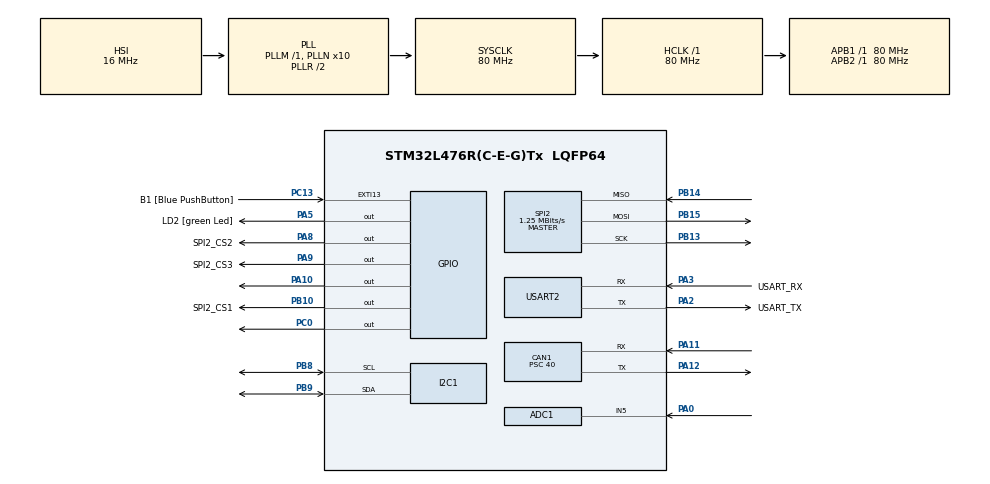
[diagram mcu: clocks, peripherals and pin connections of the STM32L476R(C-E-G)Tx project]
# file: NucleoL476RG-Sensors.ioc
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Mcu.Family=STM32L4
PA2.GPIO_PuPd=GPIO_NOPULL
PB10.PinState=GPIO_PIN_SET
VP_SYS_VS_tim6.Mode=TIM6
RCC.CortexFreq_Value=80000000
PB10.GPIO_Speed=GPIO_SPEED_FREQ_MEDIUM
PB10.GPIO_PuPd=GPIO_NOPULL
SPI2.VirtualType=VM_MASTER
NVIC.TIM6_DAC_IRQn=true\:0\:0\:false\:false\:true\:false\:false\:true
PH0-OSC_IN\ (PH0).Signal=RCC_OSC_IN
PA3.GPIO_PuPd=GPIO_NOPULL
PA2.GPIO_Speed=GPIO_SPEED_FREQ_VERY_HIGH
PA11.Mode=CAN_Activate
PC15-OSC32_OUT\ (PC15).Mode=LSE-External-Oscillator
PC13.GPIO_Label=B1 [Blue PushButton]
PA3.GPIO_Speed=GPIO_SPEED_FREQ_VERY_HIGH
PB13.Signal=SPI2_SCK
PB15.Signal=SPI2_MOSI
RCC.SYSCLKSource=RCC_SYSCLKSOURCE_PLLCLK
ProjectManager.StackSize=0x400
PB3\ (JTDO-TRACESWO).Signal=SYS_JTDO-SWO
PC14-OSC32_IN\ (PC14).Mode=LSE-External-Oscillator
VP_FREERTOS_VS_CMSIS_V2.Mode=CMSIS_V2
PA14\ (JTCK-SWCLK).Signal=SYS_JTCK-SWCLK
PA12.Signal=CAN1_TX
SPI2.CLKPolarity=SPI_POLARITY_LOW
RCC.HCLKFreq_Value=80000000
RCC.APB2TimFreq_Value=80000000
FREERTOS.configMINIMAL_STACK_SIZE=128
RCC.AHBFreq_Value=80000000
RCC.PREFETCH_ENABLE=1
SPI2.BaudRatePrescaler=SPI_BAUDRATEPRESCALER_64
ADC1.Channel-0\#ChannelRegularConversion=ADC_CHANNEL_5
RCC.HSE_VALUE=8000000
USART2.VirtualMode-Asynchronous=VM_ASYNC
PB14.Mode=Full_Duplex_Master
PA5.GPIO_PuPd=GPIO_NOPULL
PC13.GPIO_PuPd=GPIO_NOPULL
SPI2.CalculateBaudRate=1.25 MBits/s
PA8.Signal=GPIO_Output
ADC1.SamplingTime-0\#ChannelRegularConversion=ADC_SAMPLETIME_2CYCLES_5
FREERTOS.configTOTAL_HEAP_SIZE=3500
PA0.Signal=ADCx_IN5
CAN1.Prescaler=40
Mcu.Package=LQFP64
PB9.Signal=I2C1_SDA
NVIC.TimeBase=TIM6_DAC_IRQn
SPI2.Mode=SPI_MODE_MASTER
PA2.GPIO_Label=USART_TX
NVIC.TimeBaseIP=TIM6
PA10.Signal=GPIO_Output
SPI2.CLKPhase=SPI_PHASE_2EDGE
RCC.APB1TimFreq_Value=80000000
SPI2.Direction=SPI_DIRECTION_2LINES
PB13.Mode=Full_Duplex_Master
PA13\ (JTMS-SWDIO).Signal=SYS_JTMS-SWDIO
CAN1.CalculateTimeBit=8000.00
PA8.GPIO_Speed=GPIO_SPEED_FREQ_MEDIUM
PA8.PinState=GPIO_PIN_SET
PA3.Signal=USART2_RX
CAN1.CalculateTimeQuantum=500.0
PA2.GPIO_Mode=GPIO_MODE_AF_PP
RCC.MSI_VALUE=4000000
RCC.PLLSourceVirtual=RCC_PLLSOURCE_HSI
PA14\ (JTCK-SWCLK).Mode=Serial_Wire
FREERTOS.Tasks01=defaultTask,24,128,StartDefaultTask,Default,NULL,Dynamic,NULL,NULL;blinkyTask01,16,128,StartBlinkyTask01,Default,NULL,Dynamic,NULL,NULL;readTemperature,48,256,StartTaskReadTemperature,Default,NULL,Dynamic,NULL,NULL
ADC1.Rank-0\#ChannelRegularConversion=1
ADC1.OffsetNumber-0\#ChannelRegularConversion=ADC_OFFSET_NONE
PC13.Signal=GPXTI13
PA9.GPIO_Label=SPI2_CS3
CAN1.CalculateBaudRate=125000
PC15-OSC32_OUT\ (PC15).Signal=RCC_OSC32_OUT
PA14\ (JTCK-SWCLK).GPIO_Label=TCK
PB3\ (JTDO-TRACESWO).GPIO_Label=SWO
PC0.Signal=GPIO_Output
PH1-OSC_OUT\ (PH1).Signal=RCC_OSC_OUT
PA3.Mode=Asynchronous
PA8.GPIO_Label=SPI2_CS2
CAN1.BS2=CAN_BS2_2TQ
CAN1.BS1=CAN_BS1_13TQ
ProjectManager.TargetToolchain=STM32CubeIDE
PB10.GPIO_Label=SPI2_CS1
PA3.GPIO_Mode=GPIO_MODE_AF_PP
PB9.Mode=I2C
PA9.Signal=GPIO_Output
I2C1.Timing=0x10909CEC
PA9.PinState=GPIO_PIN_SET
RCC.USBFreq_Value=64000000
PB10.Signal=GPIO_Output
PB14.Signal=SPI2_MISO
PA5.Signal=GPIO_Output
board=NUCLEO-L476RG
RCC.VCOOutputFreq_Value=160000000
PB15.Mode=Full_Duplex_Master
RCC.APB2Freq_Value=80000000
PA5.GPIO_ModeDefaultOutputPP=GPIO_MODE_OUTPUT_PP
PA13\ (JTMS-SWDIO).GPIO_Label=TMS
RCC.ADCFreq_Value=64000000
Mcu.Name=STM32L476R(C-E-G)Tx
PA2.Signal=USART2_TX
PA13\ (JTMS-SWDIO).Mode=Serial_Wire
RCC.SYSCLKFreq_VALUE=80000000
ADC1.master=1
PA12.Mode=CAN_Activate
PA5.GPIO_Label=LD2 [green Led]
PC13.GPIO_ModeDefaultEXTI=GPIO_MODE_IT_FALLING
PC14-OSC32_IN\ (PC14).Signal=RCC_OSC32_IN
PA11.Signal=CAN1_RX
ProjectManager.HeapSize=0x200
RCC.HSI_VALUE=16000000
SH.ADCx_IN5.0=ADC1_IN5,IN5-Single-Ended
PA5.GPIO_Speed=GPIO_SPEED_FREQ_LOW
NVIC.PriorityGroup=NVIC_PRIORITYGROUP_4
ADC1.NbrOfConversionFlag=1
PB8.Mode=I2C
RCC.PLLN=10
PA2.Mode=Asynchronous
PA9.GPIO_Speed=GPIO_SPEED_FREQ_MEDIUM
PB8.Signal=I2C1_SCL
SPI2.DataSize=SPI_DATASIZE_8BIT
RCC.APB1Freq_Value=80000000
NVIC.CAN1_RX0_IRQn=true\:5\:0\:false\:false\:true\:true\:true\:true
PA3.GPIO_Label=USART_RX

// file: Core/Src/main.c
/* USER CODE BEGIN Header */
/**
  ******************************************************************************
  * @file           : main.c
  * @brief          : Main program body
  ******************************************************************************
  * @attention
  *
  * <h2><center>&copy; Copyright (c) 2020 STMicroelectronics.
  * All rights reserved.</center></h2>
  *
  * This software component is licensed by ST under BSD 3-Clause license,
  * the "License"; You may not use this file except in compliance with the
  * License. You may obtain a copy of the License at:
  *                        opensource.org/licenses/BSD-3-Clause
  *
  ******************************************************************************
  */
/* USER CODE END Header */
#include "main.h"
#include "cmsis_os.h"

/* USER CODE BEGIN Includes */
#include <string.h>
#include <stdio.h>
#include "MAX31865.h"
/* USER CODE END Includes */

/* USER CODE BEGIN PD */

/*CONFIGURE FUNCTIONS HERE!
 * */

#define ADC_READ 0
#define USING_UART 0
#define DEBUG_MODE 0
/* USER CODE END PD */

/* USER CODE BEGIN PM */
uint16_t raw;
char message[8];

uint16_t TEMP_1 = 0x101; //Sensor Description Here
uint16_t TEMP_2 = 0x102; //Sensor Description Here
uint16_t TEMP_3 = 0x103; //Sensor Description Here

CAN_HandleTypeDef hcan1;
CAN_TxHeaderTypeDef TxHeader;
CAN_RxHeaderTypeDef RxHeader;

uint16_t OwnID = 0x125, RemoteID = 0x124; //Swap OwnID when programming. Receiver: 0x124 Sender:0x123 RemoteID has no impact in current implementation.
/* USER CODE END PM */

ADC_HandleTypeDef hadc1;

CAN_HandleTypeDef hcan1;

I2C_HandleTypeDef hi2c1;

SPI_HandleTypeDef hspi2;

UART_HandleTypeDef huart2;

/* Definitions for defaultTask */
osThreadId_t defaultTaskHandle;
const osThreadAttr_t defaultTask_attributes = {
  .name = "defaultTask",
  .priority = (osPriority_t) osPriorityNormal,
  .stack_size = 128 * 4
};
/* Definitions for blinkyTask01 */
osThreadId_t blinkyTask01Handle;
const osThreadAttr_t blinkyTask01_attributes = {
  .name = "blinkyTask01",
  .priority = (osPriority_t) osPriorityBelowNormal,
  .stack_size = 128 * 4
};
/* Definitions for readTemperature */
osThreadId_t readTemperatureHandle;
const osThreadAttr_t readTemperature_attributes = {
  .name = "readTemperature",
  .priority = (osPriority_t) osPriorityRealtime,
  .stack_size = 256 * 4
};

void SystemClock_Config(void);
static void MX_GPIO_Init(void);
static void MX_USART2_UART_Init(void);
static void MX_ADC1_Init(void);
static void MX_CAN1_Init(void);
static void MX_I2C1_Init(void);
static void MX_SPI2_Init(void);
void StartDefaultTask(void *argument);
void StartBlinkyTask01(void *argument);
void StartTaskReadTemperature(void *argument);

/* USER CODE BEGIN PFP */
void serialMsg(char msg[]);
void serialClear(void);
void HAL_CAN_RxFifo0FullCallBack(CAN_HandleTypeDef *hcan);
void CAN_filterConfig(void);
void CAN_Tx(char msg[], CAN_TxHeaderTypeDef* TxHeader);
void CAN_Rx(void);
void SendSensorData(uint16_t sensorId, float data);

//void delay(uint16_t delay);
/* USER CODE END PFP */

int main(void)
{

  /* MCU Configuration--------------------------------------------------------*/

  /* Reset of all peripherals, Initializes the Flash interface and the Systick. */
  HAL_Init();

  /* Configure the system clock */
  SystemClock_Config();

  /* Initialize all configured peripherals */
  MX_GPIO_Init();
  MX_USART2_UART_Init();
  MX_ADC1_Init();
  MX_CAN1_Init();
  MX_I2C1_Init();
  MX_SPI2_Init();

  /* Init scheduler */
  osKernelInitialize();

  /* Create the thread(s) */
  /* creation of defaultTask */
  defaultTaskHandle = osThreadNew(StartDefaultTask, NULL, &defaultTask_attributes);

  /* creation of blinkyTask01 */
  blinkyTask01Handle = osThreadNew(StartBlinkyTask01, NULL, &blinkyTask01_attributes);

  /* creation of readTemperature */
  readTemperatureHandle = osThreadNew(StartTaskReadTemperature, NULL, &readTemperature_attributes);

  /* Start scheduler */
  osKernelStart();

  /* We should never get here as control is now taken by the scheduler */
  /* Infinite loop */
  while (1)
  {

  }
}

void SystemClock_Config(void)
{
  RCC_OscInitTypeDef RCC_OscInitStruct = {0};
  RCC_ClkInitTypeDef RCC_ClkInitStruct = {0};
  RCC_PeriphCLKInitTypeDef PeriphClkInit = {0};

  /** Initializes the RCC Oscillators according to the specified parameters
  * in the RCC_OscInitTypeDef structure.
  */
  RCC_OscInitStruct.OscillatorType = RCC_OSCILLATORTYPE_HSI;
  RCC_OscInitStruct.HSIState = RCC_HSI_ON;
  RCC_OscInitStruct.HSICalibrationValue = RCC_HSICALIBRATION_DEFAULT;
  RCC_OscInitStruct.PLL.PLLState = RCC_PLL_ON;
  RCC_OscInitStruct.PLL.PLLSource = RCC_PLLSOURCE_HSI;
  RCC_OscInitStruct.PLL.PLLM = 1;
  RCC_OscInitStruct.PLL.PLLN = 10;
  RCC_OscInitStruct.PLL.PLLP = RCC_PLLP_DIV7;
  RCC_OscInitStruct.PLL.PLLQ = RCC_PLLQ_DIV2;
  RCC_OscInitStruct.PLL.PLLR = RCC_PLLR_DIV2;
  if (HAL_RCC_OscConfig(&RCC_OscInitStruct) != HAL_OK)
  {
    Error_Handler();
  }
  /** Initializes the CPU, AHB and APB buses clocks
  */
  RCC_ClkInitStruct.ClockType = RCC_CLOCKTYPE_HCLK|RCC_CLOCKTYPE_SYSCLK
                              |RCC_CLOCKTYPE_PCLK1|RCC_CLOCKTYPE_PCLK2;
  RCC_ClkInitStruct.SYSCLKSource = RCC_SYSCLKSOURCE_PLLCLK;
  RCC_ClkInitStruct.AHBCLKDivider = RCC_SYSCLK_DIV1;
  RCC_ClkInitStruct.APB1CLKDivider = RCC_HCLK_DIV1;
  RCC_ClkInitStruct.APB2CLKDivider = RCC_HCLK_DIV1;

  if (HAL_RCC_ClockConfig(&RCC_ClkInitStruct, FLASH_LATENCY_4) != HAL_OK)
  {
    Error_Handler();
  }
  PeriphClkInit.PeriphClockSelection = RCC_PERIPHCLK_USART2|RCC_PERIPHCLK_I2C1
                              |RCC_PERIPHCLK_ADC;
  PeriphClkInit.Usart2ClockSelection = RCC_USART2CLKSOURCE_PCLK1;
  PeriphClkInit.I2c1ClockSelection = RCC_I2C1CLKSOURCE_PCLK1;
  PeriphClkInit.AdcClockSelection = RCC_ADCCLKSOURCE_PLLSAI1;
  PeriphClkInit.PLLSAI1.PLLSAI1Source = RCC_PLLSOURCE_HSI;
  PeriphClkInit.PLLSAI1.PLLSAI1M = 1;
  PeriphClkInit.PLLSAI1.PLLSAI1N = 8;
  PeriphClkInit.PLLSAI1.PLLSAI1P = RCC_PLLP_DIV7;
  PeriphClkInit.PLLSAI1.PLLSAI1Q = RCC_PLLQ_DIV2;
  PeriphClkInit.PLLSAI1.PLLSAI1R = RCC_PLLR_DIV2;
  PeriphClkInit.PLLSAI1.PLLSAI1ClockOut = RCC_PLLSAI1_ADC1CLK;
  if (HAL_RCCEx_PeriphCLKConfig(&PeriphClkInit) != HAL_OK)
  {
    Error_Handler();
  }
  /** Configure the main internal regulator output voltage
  */
  if (HAL_PWREx_ControlVoltageScaling(PWR_REGULATOR_VOLTAGE_SCALE1) != HAL_OK)
  {
    Error_Handler();
  }
}

static void MX_ADC1_Init(void)
{

  ADC_MultiModeTypeDef multimode = {0};
  ADC_ChannelConfTypeDef sConfig = {0};

  /** Common config
  */
  hadc1.Instance = ADC1;
  hadc1.Init.ClockPrescaler = ADC_CLOCK_ASYNC_DIV1;
  hadc1.Init.Resolution = ADC_RESOLUTION_12B;
  hadc1.Init.DataAlign = ADC_DATAALIGN_RIGHT;
  hadc1.Init.ScanConvMode = ADC_SCAN_DISABLE;
  hadc1.Init.EOCSelection = ADC_EOC_SINGLE_CONV;
  hadc1.Init.LowPowerAutoWait = DISABLE;
  hadc1.Init.ContinuousConvMode = DISABLE;
  hadc1.Init.NbrOfConversion = 1;
  hadc1.Init.DiscontinuousConvMode = DISABLE;
  hadc1.Init.ExternalTrigConv = ADC_SOFTWARE_START;
  hadc1.Init.ExternalTrigConvEdge = ADC_EXTERNALTRIGCONVEDGE_NONE;
  hadc1.Init.DMAContinuousRequests = DISABLE;
  hadc1.Init.Overrun = ADC_OVR_DATA_PRESERVED;
  hadc1.Init.OversamplingMode = DISABLE;
  if (HAL_ADC_Init(&hadc1) != HAL_OK)
  {
    Error_Handler();
  }
  /** Configure the ADC multi-mode
  */
  multimode.Mode = ADC_MODE_INDEPENDENT;
  if (HAL_ADCEx_MultiModeConfigChannel(&hadc1, &multimode) != HAL_OK)
  {
    Error_Handler();
  }
  /** Configure Regular Channel
  */
  sConfig.Channel = ADC_CHANNEL_5;
  sConfig.Rank = ADC_REGULAR_RANK_1;
  sConfig.SamplingTime = ADC_SAMPLETIME_2CYCLES_5;
  sConfig.SingleDiff = ADC_SINGLE_ENDED;
  sConfig.OffsetNumber = ADC_OFFSET_NONE;
  sConfig.Offset = 0;
  if (HAL_ADC_ConfigChannel(&hadc1, &sConfig) != HAL_OK)
  {
    Error_Handler();
  }

}

static void MX_CAN1_Init(void)
{

  hcan1.Instance = CAN1;
  hcan1.Init.Prescaler = 40;
  hcan1.Init.Mode = CAN_MODE_NORMAL;
  hcan1.Init.SyncJumpWidth = CAN_SJW_1TQ;
  hcan1.Init.TimeSeg1 = CAN_BS1_13TQ;
  hcan1.Init.TimeSeg2 = CAN_BS2_2TQ;
  hcan1.Init.TimeTriggeredMode = DISABLE;
  hcan1.Init.AutoBusOff = DISABLE;
  hcan1.Init.AutoWakeUp = DISABLE;
  hcan1.Init.AutoRetransmission = DISABLE;
  hcan1.Init.ReceiveFifoLocked = DISABLE;
  hcan1.Init.TransmitFifoPriority = DISABLE;
  if (HAL_CAN_Init(&hcan1) != HAL_OK)
  {
    Error_Handler();
  }
  CAN_filterConfig();
  /* USER CODE END CAN1_Init 2 */

}

static void MX_I2C1_Init(void)
{

  hi2c1.Instance = I2C1;
  hi2c1.Init.Timing = 0x10909CEC;
  hi2c1.Init.OwnAddress1 = 0;
  hi2c1.Init.AddressingMode = I2C_ADDRESSINGMODE_7BIT;
  hi2c1.Init.DualAddressMode = I2C_DUALADDRESS_DISABLE;
  hi2c1.Init.OwnAddress2 = 0;
  hi2c1.Init.OwnAddress2Masks = I2C_OA2_NOMASK;
  hi2c1.Init.GeneralCallMode = I2C_GENERALCALL_DISABLE;
  hi2c1.Init.NoStretchMode = I2C_NOSTRETCH_DISABLE;
  if (HAL_I2C_Init(&hi2c1) != HAL_OK)
  {
    Error_Handler();
  }
  /** Configure Analogue filter
  */
  if (HAL_I2CEx_ConfigAnalogFilter(&hi2c1, I2C_ANALOGFILTER_ENABLE) != HAL_OK)
  {
    Error_Handler();
  }
  /** Configure Digital filter
  */
  if (HAL_I2CEx_ConfigDigitalFilter(&hi2c1, 0) != HAL_OK)
  {
    Error_Handler();
  }

}

static void MX_SPI2_Init(void)
{

  /* SPI2 parameter configuration*/
  hspi2.Instance = SPI2;
  hspi2.Init.Mode = SPI_MODE_MASTER;
  hspi2.Init.Direction = SPI_DIRECTION_2LINES;
  hspi2.Init.DataSize = SPI_DATASIZE_8BIT;
  hspi2.Init.CLKPolarity = SPI_POLARITY_LOW;
  hspi2.Init.CLKPhase = SPI_PHASE_2EDGE;
  hspi2.Init.NSS = SPI_NSS_SOFT;
  hspi2.Init.BaudRatePrescaler = SPI_BAUDRATEPRESCALER_64;
  hspi2.Init.FirstBit = SPI_FIRSTBIT_MSB;
  hspi2.Init.TIMode = SPI_TIMODE_DISABLE;
  hspi2.Init.CRCCalculation = SPI_CRCCALCULATION_DISABLE;
  hspi2.Init.CRCPolynomial = 7;
  hspi2.Init.CRCLength = SPI_CRC_LENGTH_DATASIZE;
  hspi2.Init.NSSPMode = SPI_NSS_PULSE_DISABLE;
  if (HAL_SPI_Init(&hspi2) != HAL_OK)
  {
    Error_Handler();
  }

}

static void MX_USART2_UART_Init(void)
{

  huart2.Instance = USART2;
  huart2.Init.BaudRate = 115200;
  huart2.Init.WordLength = UART_WORDLENGTH_8B;
  huart2.Init.StopBits = UART_STOPBITS_1;
  huart2.Init.Parity = UART_PARITY_NONE;
  huart2.Init.Mode = UART_MODE_TX_RX;
  huart2.Init.HwFlowCtl = UART_HWCONTROL_NONE;
  huart2.Init.OverSampling = UART_OVERSAMPLING_16;
  huart2.Init.OneBitSampling = UART_ONE_BIT_SAMPLE_DISABLE;
  huart2.AdvancedInit.AdvFeatureInit = UART_ADVFEATURE_NO_INIT;
  if (HAL_UART_Init(&huart2) != HAL_OK)
  {
    Error_Handler();
  }

}

static void MX_GPIO_Init(void)
{
  GPIO_InitTypeDef GPIO_InitStruct = {0};

  /* GPIO Ports Clock Enable */
  __HAL_RCC_GPIOC_CLK_ENABLE();
  __HAL_RCC_GPIOH_CLK_ENABLE();
  __HAL_RCC_GPIOA_CLK_ENABLE();
  __HAL_RCC_GPIOB_CLK_ENABLE();

  /*Configure GPIO pin Output Level */
  HAL_GPIO_WritePin(GPIOC, GPIO_PIN_0, GPIO_PIN_RESET);

  /*Configure GPIO pin Output Level */
  HAL_GPIO_WritePin(GPIOA, LD2_Pin|GPIO_PIN_10, GPIO_PIN_RESET);

  /*Configure GPIO pin Output Level */
  HAL_GPIO_WritePin(SPI2_CS1_GPIO_Port, SPI2_CS1_Pin, GPIO_PIN_SET);

  /*Configure GPIO pin Output Level */
  HAL_GPIO_WritePin(GPIOA, SPI2_CS2_Pin|SPI2_CS3_Pin, GPIO_PIN_SET);

  /*Configure GPIO pin : B1_Pin */
  GPIO_InitStruct.Pin = B1_Pin;
  GPIO_InitStruct.Mode = GPIO_MODE_IT_FALLING;
  GPIO_InitStruct.Pull = GPIO_NOPULL;
  HAL_GPIO_Init(B1_GPIO_Port, &GPIO_InitStruct);

  /*Configure GPIO pin : PC0 */
  GPIO_InitStruct.Pin = GPIO_PIN_0;
  GPIO_InitStruct.Mode = GPIO_MODE_OUTPUT_PP;
  GPIO_InitStruct.Pull = GPIO_NOPULL;
  GPIO_InitStruct.Speed = GPIO_SPEED_FREQ_LOW;
  HAL_GPIO_Init(GPIOC, &GPIO_InitStruct);

  /*Configure GPIO pins : LD2_Pin PA10 */
  GPIO_InitStruct.Pin = LD2_Pin|GPIO_PIN_10;
  GPIO_InitStruct.Mode = GPIO_MODE_OUTPUT_PP;
  GPIO_InitStruct.Pull = GPIO_NOPULL;
  GPIO_InitStruct.Speed = GPIO_SPEED_FREQ_LOW;
  HAL_GPIO_Init(GPIOA, &GPIO_InitStruct);

  /*Configure GPIO pin : SPI2_CS1_Pin */
  GPIO_InitStruct.Pin = SPI2_CS1_Pin;
  GPIO_InitStruct.Mode = GPIO_MODE_OUTPUT_PP;
  GPIO_InitStruct.Pull = GPIO_NOPULL;
  GPIO_InitStruct.Speed = GPIO_SPEED_FREQ_MEDIUM;
  HAL_GPIO_Init(SPI2_CS1_GPIO_Port, &GPIO_InitStruct);

  /*Configure GPIO pins : SPI2_CS2_Pin SPI2_CS3_Pin */
  GPIO_InitStruct.Pin = SPI2_CS2_Pin|SPI2_CS3_Pin;
  GPIO_InitStruct.Mode = GPIO_MODE_OUTPUT_PP;
  GPIO_InitStruct.Pull = GPIO_NOPULL;
  GPIO_InitStruct.Speed = GPIO_SPEED_FREQ_MEDIUM;
  HAL_GPIO_Init(GPIOA, &GPIO_InitStruct);

}

/* USER CODE BEGIN 4 */

void serialMsg(char msg[]){
	HAL_UART_Transmit(&huart2, (uint8_t*)msg, strlen(msg), HAL_MAX_DELAY);
}

void serialClear(void){
	serialMsg("\n\n\n\n\n\n\n\n\n\n\n\n\n\n\n\n\n\n\n\n\n\n\n\n\n");
}

void CAN_Tx(char msg[], CAN_TxHeaderTypeDef *TxHeader)
{

	if (sizeof(*msg) <= 8)
	{
		uint32_t TxMailBox; //Outgoing mail box

		if (HAL_CAN_AddTxMessage(&hcan1, TxHeader, (uint8_t *)msg, &TxMailBox) != HAL_OK)
		{
			Error_Handler();
		}

		while (HAL_CAN_IsTxMessagePending(&hcan1, TxMailBox));//Wait for message to be sent.
			  //serialMsg("Message transmitted!\n\r");//Debug
	}
	else
	{
		//Throw ERROR "CAN Packet size to large"
		if (DEBUG_MODE)
		{
			serialMsg("CAN Packet size to large. Packet size ");
			serialMsg((char *)sizeof(*msg));
			serialMsg(" Bytes.\n\r");
		}
	}
}

void CAN_Rx(void){

	uint8_t crx[8];
	RxHeader.DLC = 8;
	RxHeader.IDE = CAN_ID_STD;
	RxHeader.RTR = CAN_RTR_DATA;
	RxHeader.StdId = RemoteID;

	if(HAL_CAN_GetRxMessage(&hcan1, CAN_RX_FIFO0, &RxHeader, crx) != HAL_OK){
		Error_Handler();
		return;
	}
	HAL_Delay(1);
	if(USING_UART){
		serialMsg("Received message: ");
		serialMsg((char*)crx);
		serialMsg("\n\r");
	}

}

void CAN_filterConfig(void){
	CAN_FilterTypeDef filterConfig;
	filterConfig.FilterBank = 0;
	filterConfig.FilterActivation = ENABLE;
	filterConfig.FilterFIFOAssignment = CAN_FILTER_FIFO0;
	filterConfig.FilterIdHigh = 0x0000;
	filterConfig.FilterIdLow = 0x0000;
	filterConfig.FilterMaskIdHigh = 0x0000;
	filterConfig.FilterMaskIdLow = 0x0000;
	filterConfig.FilterMode = CAN_FILTERMODE_IDMASK;
	filterConfig.FilterScale = CAN_FILTERSCALE_16BIT;

	HAL_CAN_ConfigFilter(&hcan1, &filterConfig);
}

void SendSensorData(uint16_t sensorId, float data)
{
	char sensorData[8];
	TxHeader.DLC = 8;			 //Specifies the length of the frame that will be transmitted.
	TxHeader.IDE = CAN_ID_STD;	 //Specifies the type of identifier for the message that will be transmitted.
	TxHeader.RTR = CAN_RTR_DATA; //Specifies the type of frame for the message that will be transmitted.
	TxHeader.StdId = OwnID;		 //Specifies the standard identifier.
	TxHeader.TransmitGlobalTime = DISABLE;
	TxHeader.ExtId = sensorId; //Specifies the extended identifier.

	sprintf(sensorData, "%06f", data);
	CAN_Tx(sensorData, &TxHeader);
}

/* USER CODE END 4 */

void StartDefaultTask(void *argument)
{
  for(;;)
  {
    osDelay(1);
  }
}

void StartBlinkyTask01(void *argument)
{
  /* USER CODE BEGIN StartBlinkyTask01 */
  /* Infinite loop */
  for(;;)
  {
	HAL_GPIO_TogglePin(GPIOA, GPIO_PIN_5);
    osDelay(500);
  }
  /* USER CODE END StartBlinkyTask01 */
}

void StartTaskReadTemperature(void *argument)
{
  /* USER CODE BEGIN StartTaskReadTemperature */
	float temperature[3];
	uint8_t fault[3], buffer_len;
	Max31865_t  MaxHandles[3];
	char usartBuffer[16];

	Max31865_init(&MaxHandles[0], &hspi2, SPI2_CS1_GPIO_Port, SPI2_CS1_Pin, 2, 50);
	Max31865_init(&MaxHandles[1], &hspi2, SPI2_CS2_GPIO_Port, SPI2_CS2_Pin, 2, 50);
	Max31865_init(&MaxHandles[2], &hspi2, SPI2_CS3_GPIO_Port, SPI2_CS3_Pin, 2, 50);
  /* Infinite loop */
  for(;;)
  {
	  fault[0] = Max31865_readTempC(&MaxHandles[0], &temperature[0]);
	  fault[1] = Max31865_readTempC(&MaxHandles[1], &temperature[1]);
	  fault[2] = Max31865_readTempC(&MaxHandles[2], &temperature[2]);

	  //sprintf(message, "T1%.1f", temperature[0]);
	  SendSensorData(TEMP_1, temperature[0]);
	  osDelay(10);
	  SendSensorData(TEMP_2, temperature[0]);
	  osDelay(10);
	  SendSensorData(TEMP_3, temperature[0]);
	  osDelay(10);
	  //sprintf(message, "T2%.1f", temperature[1]);
	  //CAN_Tx(message);
	  //sprintf(message, "T3%.1f", temperature[2]);
	  //CAN_Tx(message);

	  if(USING_UART)
	  {
		  buffer_len = sprintf(usartBuffer, "T1:%.1f\r\n", temperature[0]);
		  HAL_UART_Transmit(&huart2, (uint8_t*)usartBuffer, buffer_len, 100);

		  buffer_len = sprintf(usartBuffer, "T2:%.1f\r\n", temperature[1]);
		  HAL_UART_Transmit(&huart2, (uint8_t*)usartBuffer, buffer_len, 100);

		  buffer_len = sprintf(usartBuffer, "T3:%.1f\r\n\r\n", temperature[2]);
		  HAL_UART_Transmit(&huart2, (uint8_t*)usartBuffer, buffer_len, 100);
		  HAL_Delay(1);

	  }

	  osDelay(1000);
  }
  /* USER CODE END StartTaskReadTemperature */
}

 /**
  * @brief  Period elapsed callback in non blocking mode
  * @note   This function is called  when TIM6 interrupt took place, inside
  * HAL_TIM_IRQHandler(). It makes a direct call to HAL_IncTick() to increment
  * a global variable "uwTick" used as application time base.
  * @param  htim : TIM handle
  * @retval None
  */
void HAL_TIM_PeriodElapsedCallback(TIM_HandleTypeDef *htim)
{
  if (htim->Instance == TIM6) {
    HAL_IncTick();
  }
}

void Error_Handler(void)
{
}

/************************ (C) COPYRIGHT STMicroelectronics *****END OF FILE****/
